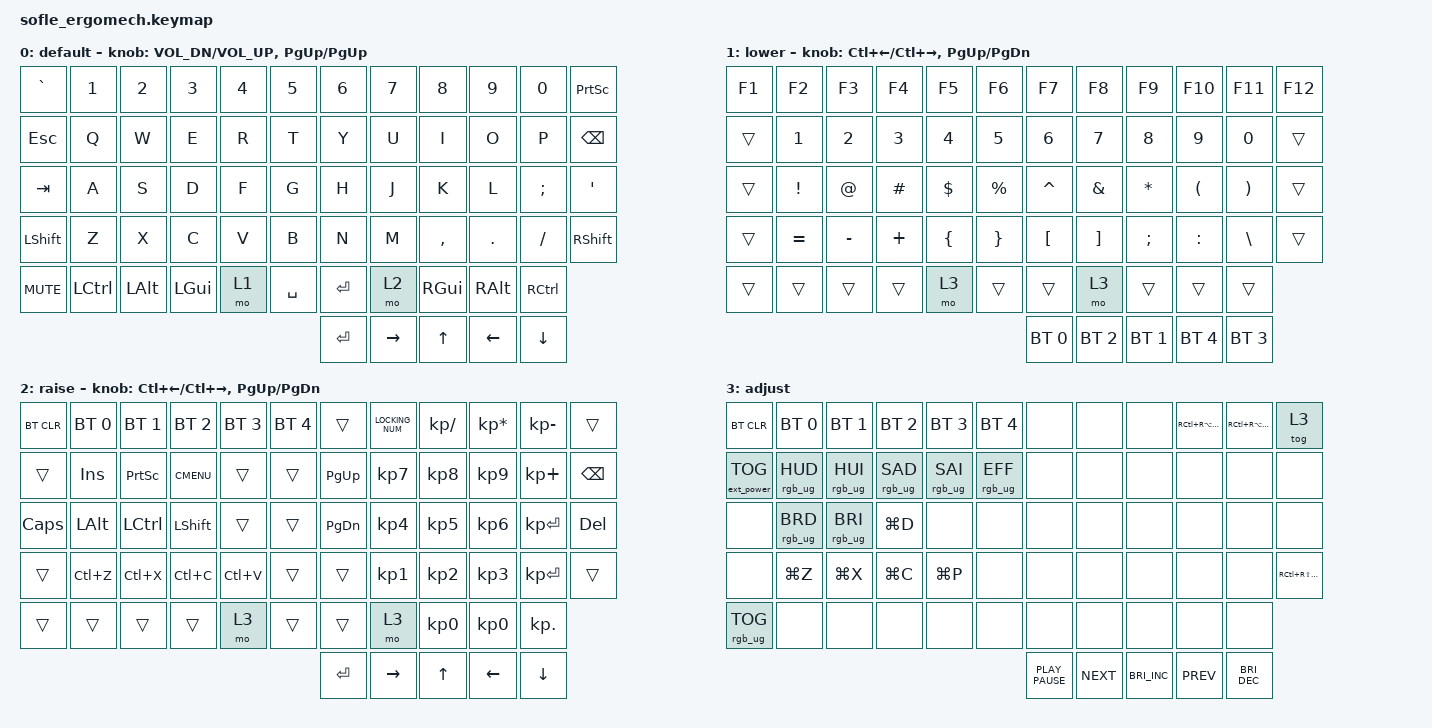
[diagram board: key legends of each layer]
/*
 * Copyright (c) 2020 The ZMK Contributors
 *
 * SPDX-License-Identifier: MIT
 */

#include <behaviors.dtsi>
#include <dt-bindings/zmk/bt.h>
#include <dt-bindings/zmk/ext_power.h>
#include <dt-bindings/zmk/keys.h>
#include <dt-bindings/zmk/rgb.h>

#define BASE 0
#define LOWER 1
#define RAISE 2
#define ADJUST 3

/ {
    // Activate ADJUST layer by pressing raise and lower

    conditional_layers { compatible = "zmk,conditional-layers"; };

    keymap {
        compatible = "zmk,keymap";

        default_layer {
            label = "default";

            // ------------------------------------------------------------------------------------------------------------
            // |   `   |  1  |  2  |  3   |  4   |  5   |                   |  6   |  7    |  8    |  9   |   0   |       |
            // |  ESC  |  Q  |  W  |  E   |  R   |  T   |                   |  Y   |  U    |  I    |  O   |   P   | BKSPC |
            // |  TAB  |  A  |  S  |  D   |  F   |  G   |                   |  H   |  J    |  K    |  L   |   ;   |   '   |
            // | SHIFT |  Z  |  X  |  C   |  V   |  B   |  MUTE  |  |       |  N   |  M    |  ,    |  .   |   /   | SHIFT |
            //               | GUI | ALT  | CTRL | LOWER|  ENTER |  | SPACE | RAISE| CTRL  | ALT   | GUI  |

            bindings = <
&kp GRAVE   &kp N1            &kp N2    &kp N3    &kp N4  &kp N5     &kp N6     &kp N7     &kp N8        &kp N9          &kp N0             &kp PRINTSCREEN
&kp ESC     &kp Q             &kp W     &kp E     &kp R   &kp T      &kp Y      &kp U      &kp I         &kp O           &kp P              &kp BSPC
&kp TAB     &kp A             &kp S     &kp D     &kp F   &kp G      &kp H      &kp J      &kp K         &kp L           &kp SEMI           &kp SQT
&kp LSHFT   &kp Z             &kp X     &kp C     &kp V   &kp B      &kp N      &kp M      &kp COMMA     &kp DOT         &kp FSLH           &kp RSHFT
&kp C_MUTE  &kp LEFT_CONTROL  &kp LALT  &kp LGUI  &mo 1   &kp SPACE  &kp ENTER  &mo 2      &kp RGUI      &kp RALT        &kp RIGHT_CONTROL
                                                                     &kp ENTER  &kp RIGHT  &kp UP_ARROW  &kp LEFT_ARROW  &kp DOWN
            >;

            sensor-bindings =
                <&inc_dec_kp C_VOL_DN C_VOL_UP>,
                <&inc_dec_kp PG_UP PG_UP>;
        };

        lower_layer {
            label = "lower";

            // TODO: Some binds are waiting for shifted keycode support.
            // ------------------------------------------------------------------------------------------------------------
            // |       |  F1 |  F2 |  F3  |  F4  |  F5  |                   |  F6  |  F7   |  F8   |  F9  |  F10  |  F11  |
            // |   `   |  1  |  2  |  3   |  4   |  5   |                   |  6   |  7    |  8    |  9   |   0   |  F12  |
            // |       |  !  |  @  |  #   |  $   |  %   |                   |  ^   |  &    |  *    |  (   |   )   |   |   |
            // |       |  =  |  -  |  +   |  {   |  }   |        |  |       |  [   |  ]    |  ;    |  :   |   \   |       |
            //               |     |      |      |      |        |  |       |      |       |       |      |

            bindings = <
&kp F1  &kp F2     &kp F3     &kp F4    &kp F5    &kp F6     &kp F7        &kp F8        &kp F9        &kp F10       &kp F11        &kp F12
&trans  &kp N1     &kp N2     &kp N3    &kp N4    &kp N5     &kp N6        &kp N7        &kp N8        &kp N9        &kp N0         &trans
&trans  &kp EXCL   &kp AT     &kp HASH  &kp DLLR  &kp PRCNT  &kp CARET     &kp AMPS      &kp ASTRK     &kp LPAR      &kp RPAR       &trans
&trans  &kp EQUAL  &kp MINUS  &kp PLUS  &kp LBRC  &kp RBRC   &kp LBKT      &kp RBKT      &kp SEMI      &kp COLON     &kp BACKSLASH  &trans
&trans  &trans     &trans     &trans    &mo 3     &trans     &trans        &mo 3         &trans        &trans        &trans
                                                             &bt BT_SEL 0  &bt BT_SEL 2  &bt BT_SEL 1  &bt BT_SEL 4  &bt BT_SEL 3
            >;

            sensor-bindings =
                <&inc_dec_kp LC(LEFT_ARROW) LC(RIGHT)>,
                <&inc_dec_kp PG_UP PG_DN>;
        };

        raise_layer {
            label = "raise";

            // ------------------------------------------------------------------------------------------------------------
            // | BTCLR | BT1  | BT2  |  BT3  |  BT4  |  BT5 |                |      |      |       |      |       |       |
            // |       | INS  | PSCR | GUI   |       |      |                | PGUP |      |   ^   |      |       |       |
            // |       | ALT  | CTRL | SHIFT |       | CAPS |                | PGDN |   <- |   v   |  ->  |  DEL  | BKSPC |
            // |       | UNDO | CUT  | COPY  | PASTE |      |      |  |      |      |      |       |      |       |       |
            //                |      |       |       |      |      |  |      |      |      |       |      |

            bindings = <
&bt BT_CLR  &bt BT_SEL 0  &bt BT_SEL 1  &bt BT_SEL 2  &bt BT_SEL 3  &bt BT_SEL 4  &trans         &kp LOCKING_NUM  &kp KP_DIVIDE    &kp KP_MULTIPLY  &kp KP_SUBTRACT  &trans
&trans      &kp INS       &kp PSCRN     &kp K_CMENU   &trans        &trans        &kp PAGE_UP    &kp KP_NUMBER_7  &kp KP_N8        &kp KP_NUMBER_9  &kp KP_PLUS      &kp BACKSPACE
&kp CAPS    &kp LALT      &kp LCTRL     &kp LSHFT     &trans        &trans        &kp PAGE_DOWN  &kp KP_NUMBER_4  &kp KP_NUMBER_5  &kp KP_NUMBER_6  &kp KP_ENTER     &kp DEL
&trans      &kp LC(Z)     &kp LC(X)     &kp LC(C)     &kp LC(V)     &trans        &trans         &kp KP_NUMBER_1  &kp KP_NUMBER_2  &kp KP_NUMBER_3  &kp KP_ENTER     &trans
&trans      &trans        &trans        &trans        &mo 3         &trans        &trans         &mo 3            &kp KP_NUMBER_0  &kp KP_NUMBER_0  &kp KP_DOT
                                                                                  &kp ENTER      &kp RIGHT        &kp UP_ARROW     &kp LEFT_ARROW   &kp DOWN
            >;

            sensor-bindings =
                <&inc_dec_kp LC(LEFT_ARROW) LC(RIGHT)>,
                <&inc_dec_kp PG_UP PG_DN>;
        };

        adjust_layer {
            // ----------------------------------------------------------------------------------------------------------------------------
            // | BTCLR  |  BT1    |  BT2    |   BT3   |   BT4   |   BT5   |                  |      |      |       |      |       |       |
            // | EXTPWR | RGB_HUD | RGB_HUI | RGB_SAD | RGB_SAI | RGB_EFF |                  |      |      |       |      |       |       |
            // |        | RGB_BRD | RGB_BRI |         |         |         |                  |      |      |       |      |       |       |
            // |        |         |         |         |         |         | RGB_TOG | |      |      |      |       |      |       |       |
            //                    |         |         |         |         |         | |      |      |      |       |      |

            label = "adjust";
            bindings = <
&bt BT_CLR         &bt BT_SEL 0     &bt BT_SEL 1     &bt BT_SEL 2     &bt BT_SEL 3     &bt BT_SEL 4     &none             &none       &none                 &kp RC(RA(END))  &kp RC(RA(DEL))       &tog 3
&ext_power EP_TOG  &rgb_ug RGB_HUD  &rgb_ug RGB_HUI  &rgb_ug RGB_SAD  &rgb_ug RGB_SAI  &rgb_ug RGB_EFF  &none             &none       &none                 &none            &none                 &none
&none              &rgb_ug RGB_BRD  &rgb_ug RGB_BRI  &kp LG(D)        &none            &none            &none             &none       &none                 &none            &none                 &none
&none              &kp LG(Z)        &kp LG(X)        &kp LG(C)        &kp LG(P)        &none            &none             &none       &none                 &none            &none                 &kp RC(RS(END))
&rgb_ug RGB_TOG    &none            &none            &none            &none            &none            &none             &none       &none                 &none            &none
                                                                                                        &kp K_PLAY_PAUSE  &kp K_NEXT  &kp C_BRIGHTNESS_INC  &kp K_PREV       &kp C_BRIGHTNESS_DEC
            >;
        };
    };
};
